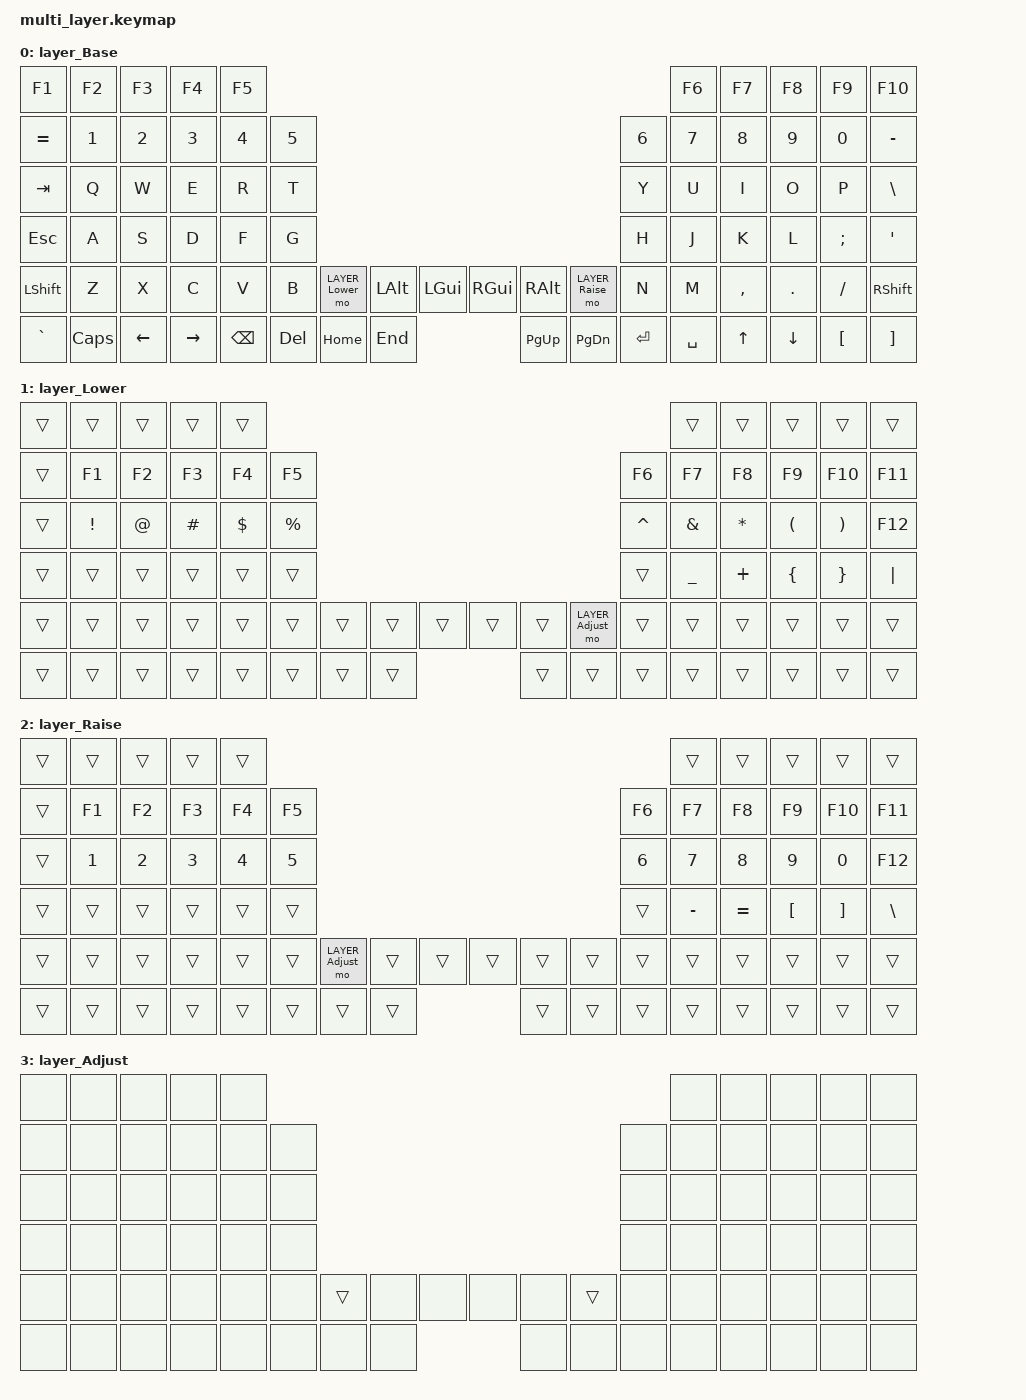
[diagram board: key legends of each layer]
/*
 * Multi-layer Glove80 keymap for testing
 */

#include <behaviors.dtsi>
#include <dt-bindings/zmk/keys.h>

#define LAYER_Base 0
#define LAYER_Lower 1
#define LAYER_Raise 2
#define LAYER_Adjust 3

/ {
    keymap {
        compatible = "zmk,keymap";

        layer_Base {
            bindings = <
                &kp F1    &kp F2    &kp F3    &kp F4    &kp F5                                                                                      &kp F6    &kp F7    &kp F8    &kp F9    &kp F10
                &kp EQUAL &kp N1    &kp N2    &kp N3    &kp N4    &kp N5                                                                  &kp N6    &kp N7    &kp N8    &kp N9    &kp N0    &kp MINUS
                &kp TAB   &kp Q     &kp W     &kp E     &kp R     &kp T                                                                   &kp Y     &kp U     &kp I     &kp O     &kp P     &kp BSLH
                &kp ESC   &kp A     &kp S     &kp D     &kp F     &kp G                                                                   &kp H     &kp J     &kp K     &kp L     &kp SEMI  &kp SQT
                &kp LSHFT &kp Z     &kp X     &kp C     &kp V     &kp B     &mo LAYER_Lower &kp LALT &kp LGUI &kp RGUI &kp RALT &mo LAYER_Raise &kp N &kp M   &kp COMMA &kp DOT   &kp FSLH  &kp RSHFT
                &kp GRAVE &kp CAPS  &kp LEFT  &kp RIGHT &kp BSPC            &kp DEL   &kp HOME  &kp END   &kp PG_UP &kp PG_DN &kp ENTER             &kp SPACE &kp UP    &kp DOWN  &kp LBKT  &kp RBKT
            >;
        };

        layer_Lower {
            bindings = <
                &trans    &trans    &trans    &trans    &trans                                                                                      &trans    &trans    &trans    &trans    &trans
                &trans    &kp F1    &kp F2    &kp F3    &kp F4    &kp F5                                                                  &kp F6    &kp F7    &kp F8    &kp F9    &kp F10   &kp F11
                &trans    &kp EXCL  &kp AT    &kp HASH  &kp DLLR  &kp PRCNT                                                               &kp CARET &kp AMPS  &kp ASTRK &kp LPAR  &kp RPAR  &kp F12
                &trans    &trans    &trans    &trans    &trans    &trans                                                                  &trans    &kp UNDER &kp PLUS  &kp LBRC  &kp RBRC  &kp PIPE
                &trans    &trans    &trans    &trans    &trans    &trans    &trans    &trans    &trans    &trans    &trans    &mo LAYER_Adjust &trans &trans  &trans    &trans    &trans    &trans
                &trans    &trans    &trans    &trans    &trans              &trans    &trans    &trans    &trans    &trans    &trans              &trans    &trans    &trans    &trans    &trans
            >;
        };

        layer_Raise {
            bindings = <
                &trans    &trans    &trans    &trans    &trans                                                                                      &trans    &trans    &trans    &trans    &trans
                &trans    &kp F1    &kp F2    &kp F3    &kp F4    &kp F5                                                                  &kp F6    &kp F7    &kp F8    &kp F9    &kp F10   &kp F11
                &trans    &kp N1    &kp N2    &kp N3    &kp N4    &kp N5                                                                  &kp N6    &kp N7    &kp N8    &kp N9    &kp N0    &kp F12
                &trans    &trans    &trans    &trans    &trans    &trans                                                                  &trans    &kp MINUS &kp EQUAL &kp LBKT  &kp RBKT  &kp BSLH
                &trans    &trans    &trans    &trans    &trans    &trans    &mo LAYER_Adjust &trans &trans &trans &trans &trans          &trans    &trans    &trans    &trans    &trans    &trans
                &trans    &trans    &trans    &trans    &trans              &trans    &trans    &trans    &trans    &trans    &trans              &trans    &trans    &trans    &trans    &trans
            >;
        };

        layer_Adjust {
            bindings = <
                &none     &none     &none     &none     &none                                                                                       &none     &none     &none     &none     &none
                &none     &none     &none     &none     &none     &none                                                                   &none     &none     &none     &none     &none     &none
                &none     &none     &none     &none     &none     &none                                                                   &none     &none     &none     &none     &none     &none
                &none     &none     &none     &none     &none     &none                                                                   &none     &none     &none     &none     &none     &none
                &none     &none     &none     &none     &none     &none     &trans    &none     &none     &none     &none     &trans      &none     &none     &none     &none     &none     &none
                &none     &none     &none     &none     &none               &none     &none     &none     &none     &none     &none                 &none     &none     &none     &none     &none
            >;
        };
    };
};
